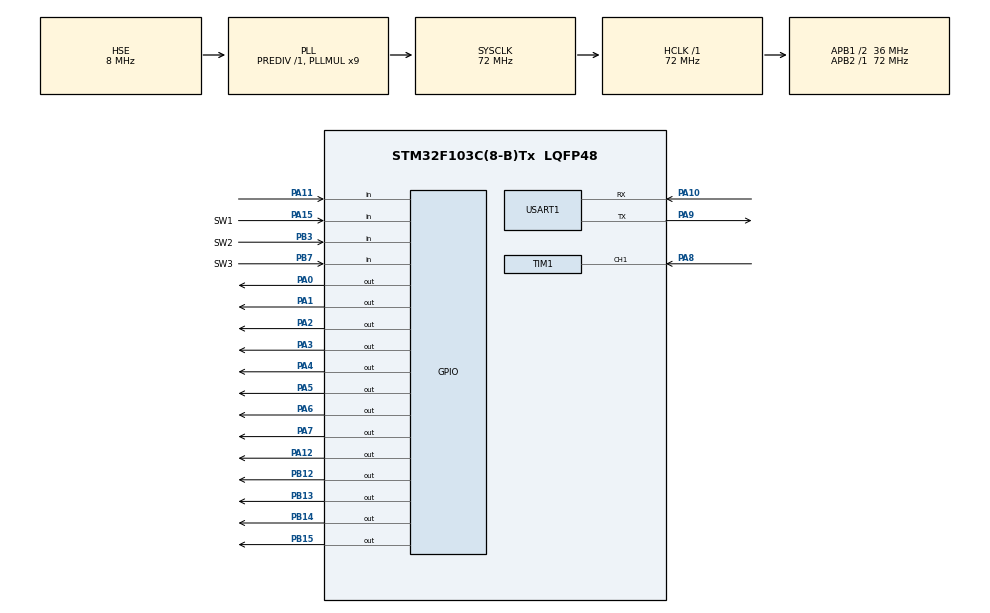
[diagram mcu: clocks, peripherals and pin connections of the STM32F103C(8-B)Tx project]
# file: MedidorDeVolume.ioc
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Mcu.Family=STM32F1
Mcu.Name=STM32F103C(8-B)Tx
Mcu.Package=LQFP48
NVIC.PriorityGroup=NVIC_PRIORITYGROUP_4
NVIC.TIM3_IRQn=true\:0\:0\:false\:false\:true\:true\:true\:true
PA0-WKUP.Signal=GPIO_Output
PA1.Signal=GPIO_Output
PA10.Mode=Asynchronous
PA10.Signal=USART1_RX
PA11.Signal=GPIO_Input
PA12.Signal=GPIO_Output
PA13.Mode=Serial_Wire
PA13.Signal=SYS_JTMS-SWDIO
PA14.Mode=Serial_Wire
PA14.Signal=SYS_JTCK-SWCLK
PA15.GPIO_Label=SW1
PA15.Signal=GPIO_Input
PA2.Signal=GPIO_Output
PA3.Signal=GPIO_Output
PA4.Signal=GPIO_Output
PA5.Signal=GPIO_Output
PA6.Signal=GPIO_Output
PA7.Signal=GPIO_Output
PA8.Signal=S_TIM1_CH1
PA9.Mode=Asynchronous
PA9.Signal=USART1_TX
PB10.Signal=I2C2_SCL
PB11.Signal=I2C2_SDA
PB12.Signal=GPIO_Output
PB13.Signal=GPIO_Output
PB14.Signal=GPIO_Output
PB15.Signal=GPIO_Output
PB3.GPIO_Label=SW2
PB3.Signal=GPIO_Input
PB7.GPIO_Label=SW3
PB7.Signal=GPIO_Input
PD0-OSC_IN.Mode=HSE-External-Oscillator
PD0-OSC_IN.Signal=RCC_OSC_IN
PD1-OSC_OUT.Mode=HSE-External-Oscillator
PD1-OSC_OUT.Signal=RCC_OSC_OUT
ProjectManager.HeapSize=0x200
ProjectManager.StackSize=0x400
ProjectManager.TargetToolchain=STM32CubeIDE
RCC.AHBFreq_Value=72000000
RCC.APB1CLKDivider=RCC_HCLK_DIV2
RCC.APB1Freq_Value=36000000
RCC.APB1TimFreq_Value=72000000
RCC.APB2Freq_Value=72000000
RCC.APB2TimFreq_Value=72000000
RCC.HCLKFreq_Value=72000000
RCC.PLLMUL=RCC_PLL_MUL9
RCC.PLLSourceVirtual=RCC_PLLSOURCE_HSE
RCC.SYSCLKFreq_VALUE=72000000
RCC.SYSCLKSource=RCC_SYSCLKSOURCE_PLLCLK
RCC.USBFreq_Value=72000000
SH.S_TIM1_CH1.0=TIM1_CH1,TriggerSource_TI1FP1
TIM1.Period=65535
TIM1.Prescaler=72-1
TIM3.Period=9
TIM3.Prescaler=7199
USART1.VirtualMode=VM_ASYNC
VP_TIM1_VS_ClockSourceINT.Mode=Internal
VP_TIM1_VS_ControllerModeReset.Mode=Reset Mode
VP_TIM3_VS_ClockSourceINT.Mode=Internal
board=custom

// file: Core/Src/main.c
/* USER CODE BEGIN Header */
/**
  ******************************************************************************
  * @file           : main.c
  * @brief          : Main program body
  ******************************************************************************
  * @attention
  *
  * Copyright (c) 2025 STMicroelectronics.
  * All rights reserved.
  *
  * This software is licensed under terms that can be found in the LICENSE file
  * in the root directory of this software component.
  * If no LICENSE file comes with this software, it is provided AS-IS.
  *
  ******************************************************************************
  */
/* USER CODE END Header */
#include "main.h"

/* USER CODE BEGIN Includes */
#include "stdio.h"
#include "string.h"

/* USER CODE END Includes */

TIM_HandleTypeDef htim1;
TIM_HandleTypeDef htim3;

UART_HandleTypeDef huart1;

/* USER CODE BEGIN PV */

char history[HISTORY_SIZE][50];
uint8_t history_index = 0;
uint8_t current_digit = 0;
uint8_t dist_int = 0;

const uint8_t sevenLookup[] = {0x3F, 0x06, 0x5B, 0x4F, 0x66, 0x6D, 0x7D, 0x07, 0x7F, 0x6F};
/* USER CODE END PV */

void SystemClock_Config(void);
static void MX_GPIO_Init(void);
static void MX_TIM1_Init(void);
static void MX_USART1_UART_Init(void);
static void MX_TIM3_Init(void);
/* USER CODE BEGIN PFP */
int __io_putchar(int ch)
{
    HAL_UART_Transmit(&huart1, (uint8_t *)&ch, 1, HAL_MAX_DELAY);
    return ch;
}

GPIO_InitTypeDef GPIO_InitStruct = {0};

/* USER CODE END PFP */

/* USER CODE BEGIN 0 */

void add_to_history(const char* msg) {
    snprintf(history[history_index], sizeof(history[history_index]), "%s", msg);
    history_index = (history_index + 1) % HISTORY_SIZE;
}

float read_distance(void) {
    uint32_t Value1 = 0;
    uint32_t Value2 = 0;
    float Distance = 0;
    uint32_t pMillis;

    // Gera pulso de 10us no TRIG
    HAL_GPIO_WritePin(TRIG_PORT, TRIG_PIN, GPIO_PIN_SET);  // TRIG HIGH
    __HAL_TIM_SET_COUNTER(&htim1, 0);
    while (__HAL_TIM_GET_COUNTER(&htim1) < 10);  // espera 10 us
    HAL_GPIO_WritePin(TRIG_PORT, TRIG_PIN, GPIO_PIN_RESET);  // TRIG LOW

    // Espera o ECHO ir para HIGH (com timeout de 10 ms)
    pMillis = HAL_GetTick();
    while (!(HAL_GPIO_ReadPin(ECHO_PORT, ECHO_PIN)) && (HAL_GetTick() - pMillis < 10));

    Value1 = __HAL_TIM_GET_COUNTER(&htim1);

    // Espera o ECHO voltar para LOW (com timeout de 50 ms)
    pMillis = HAL_GetTick();
    while ((HAL_GPIO_ReadPin(ECHO_PORT, ECHO_PIN)) && (HAL_GetTick() - pMillis < 50));

    Value2 = __HAL_TIM_GET_COUNTER(&htim1);

    // Cálculo da distância
    Distance = (Value2 - Value1) * 0.034f / 2.0f;  // em cm

    return Distance;
}

void displayNumber(uint16_t number) {
    uint8_t d1 = (number / 100) % 10;
    uint8_t d2 = (number / 10) % 10;
    uint8_t d3 = number % 10;

    // Desliga todos os dígitos antes de ativar o atual
    HAL_GPIO_WritePin(DIGIT_PORT, DIGIT1_PIN | DIGIT2_PIN | DIGIT3_PIN, GPIO_PIN_RESET);

    switch(current_digit) {
        case 0:
            SEGMENT_PORT->ODR = (SEGMENT_PORT->ODR & 0xFF00) | sevenLookup[d3];
            HAL_GPIO_WritePin(DIGIT_PORT, DIGIT1_PIN, GPIO_PIN_SET);
            break;
        case 1:
            SEGMENT_PORT->ODR = (SEGMENT_PORT->ODR & 0xFF00) | sevenLookup[d2];
            HAL_GPIO_WritePin(DIGIT_PORT, DIGIT2_PIN, GPIO_PIN_SET);
            break;
        case 2:
            SEGMENT_PORT->ODR = (SEGMENT_PORT->ODR & 0xFF00) | sevenLookup[d1];
            HAL_GPIO_WritePin(DIGIT_PORT, DIGIT3_PIN, GPIO_PIN_SET);
            break;
    }

    current_digit = (current_digit + 1) % 3;
}

void handle_buttons() {
    static uint32_t last_button_check = 0;
    static uint8_t sw1_pressed = 0;
    static uint8_t sw2_pressed = 0;
    static uint8_t sw3_pressed = 0;

    static float distancia_A = 0;
    static float distancias_B[3] = {0};
    static uint8_t index_B = 0;
    char msg[50];

    if (HAL_GetTick() - last_button_check < 100) return;
    last_button_check = HAL_GetTick();

    // --- Botão 1: Salva a primeira medida ---
    if (HAL_GPIO_ReadPin(SW1_GPIO_Port, SW1_Pin) == GPIO_PIN_RESET) {
        if (!sw1_pressed) {
            sw1_pressed = 1;
            HAL_Delay(50); // debounce
            if (HAL_GPIO_ReadPin(SW1_GPIO_Port, SW1_Pin) == GPIO_PIN_RESET) {
                distancia_A = read_distance();
                snprintf(msg, sizeof(msg), "TARA salva: %.2f cm", distancia_A);
                printf("%s\n\r", msg);
                add_to_history(msg);  // Salva no histórico
            }
        }
    } else {
        sw1_pressed = 0;
    }

    // --- Botão 2: Salva a segunda medida ---
    if (HAL_GPIO_ReadPin(SW2_GPIO_Port, SW2_Pin) == GPIO_PIN_RESET) {
        if (!sw2_pressed) {
            sw2_pressed = 1;
            HAL_Delay(50); // debounce
            if (HAL_GPIO_ReadPin(SW2_GPIO_Port, SW2_Pin) == GPIO_PIN_RESET) {
                distancias_B[index_B] = read_distance();
                snprintf(msg, sizeof(msg), "Distância [%d] salva: %.2f cm", index_B, distancias_B[index_B]);
                printf("%s\n\r", msg);
                add_to_history(msg);
                index_B = (index_B + 1) % 3;  // circular
            }
        }
    } else {
        sw2_pressed = 0;
    }

    // --- Botão 3: Calcula Y = (tara - d0) * (tara - d1) * (tara - d2) ---
    if (HAL_GPIO_ReadPin(SW3_GPIO_Port, SW3_Pin) == GPIO_PIN_RESET) {
        if (!sw3_pressed) {
            sw3_pressed = 1;
            HAL_Delay(50); // debounce
            if (HAL_GPIO_ReadPin(SW3_GPIO_Port, SW3_Pin) == GPIO_PIN_RESET) {

                // Verificação: se tara (distancia_A) está válida
                if (distancia_A <= 0) {
                    printf("Erro: TARA (distância 1) não definida!\n\r");
                    return;
                }

                // Verificação: se 3 valores foram medidos
                int medidas_validas = 1;
                for (int i = 0; i < 3; i++) {
                    if (distancias_B[i] <= 0) {
                        medidas_validas = 0;
                        break;
                    }
                }

                if (!medidas_validas) {
                    printf("Erro: Distâncias da caixa incompletas!\n\r");
                    return;
                }

                // Cálculo
                float tara = distancia_A;
                float X1 = tara - distancias_B[0];
                float X3 = tara - distancias_B[1];
                float X2 = tara - distancias_B[2];
                float Y = X1 * X2 * X3;

                char msg[100];
                snprintf(msg, sizeof(msg),
                         "X1=%.2fcm X3=%.2fcm X2=%.2fcm\n\rArea=%.2fcm3",
                         X1, X3, X2, Y);
                printf("%s\n\r", msg);
                add_to_history(msg);
            }
        }
    } else {
        sw3_pressed = 0;
    }

}

/* USER CODE END 0 */

int main(void)
{

  /* USER CODE BEGIN 1 */
#ifdef DEBUG
// Se estiver compilando para Debug
CoreDebug->DEMCR |= CoreDebug_DEMCR_MON_EN_Msk | CoreDebug_DEMCR_MON_PEND_Msk;
DBGMCU->CR |= DBGMCU_CR_DBG_SLEEP | DBGMCU_CR_DBG_STOP | DBGMCU_CR_DBG_STANDBY;
#endif
  /* USER CODE END 1 */

  /* MCU Configuration--------------------------------------------------------*/

  /* Reset of all peripherals, Initializes the Flash interface and the Systick. */
  HAL_Init();

  /* Configure the system clock */
  SystemClock_Config();

  /* Initialize all configured peripherals */
  MX_GPIO_Init();
  MX_TIM1_Init();
  MX_USART1_UART_Init();
  MX_TIM3_Init();

  /* USER CODE BEGIN 2 */
  HAL_TIM_Base_Start(&htim1);
  HAL_TIM_Base_Start_IT(&htim3);
  HAL_GPIO_WritePin(TRIG_PORT, TRIG_PIN, GPIO_PIN_RESET);
  /* USER CODE END 2 */

  /* Infinite loop */
  /* USER CODE BEGIN WHILE */
  printf("iniciando o loop\n");

  uint32_t last_measurement = 0;

  while (1)
  {
      if (HAL_GetTick() - last_measurement >= 500) {
          float distance = read_distance();
          dist_int = (uint8_t)(distance > 999 ? 999 : distance);  // Limita a 3 dígitos
          printf("Dist: %.2f cm\r\n", distance);
          last_measurement = HAL_GetTick();
      }

      handle_buttons();
  }
    /* USER CODE END WHILE */

}

void SystemClock_Config(void)
{
  RCC_OscInitTypeDef RCC_OscInitStruct = {0};
  RCC_ClkInitTypeDef RCC_ClkInitStruct = {0};

  /** Initializes the RCC Oscillators according to the specified parameters
  * in the RCC_OscInitTypeDef structure.
  */
  RCC_OscInitStruct.OscillatorType = RCC_OSCILLATORTYPE_HSE;
  RCC_OscInitStruct.HSEState = RCC_HSE_ON;
  RCC_OscInitStruct.HSEPredivValue = RCC_HSE_PREDIV_DIV1;
  RCC_OscInitStruct.HSIState = RCC_HSI_ON;
  RCC_OscInitStruct.PLL.PLLState = RCC_PLL_ON;
  RCC_OscInitStruct.PLL.PLLSource = RCC_PLLSOURCE_HSE;
  RCC_OscInitStruct.PLL.PLLMUL = RCC_PLL_MUL9;
  if (HAL_RCC_OscConfig(&RCC_OscInitStruct) != HAL_OK)
  {
    Error_Handler();
  }

  /** Initializes the CPU, AHB and APB buses clocks
  */
  RCC_ClkInitStruct.ClockType = RCC_CLOCKTYPE_HCLK|RCC_CLOCKTYPE_SYSCLK
                              |RCC_CLOCKTYPE_PCLK1|RCC_CLOCKTYPE_PCLK2;
  RCC_ClkInitStruct.SYSCLKSource = RCC_SYSCLKSOURCE_PLLCLK;
  RCC_ClkInitStruct.AHBCLKDivider = RCC_SYSCLK_DIV1;
  RCC_ClkInitStruct.APB1CLKDivider = RCC_HCLK_DIV2;
  RCC_ClkInitStruct.APB2CLKDivider = RCC_HCLK_DIV1;

  if (HAL_RCC_ClockConfig(&RCC_ClkInitStruct, FLASH_LATENCY_2) != HAL_OK)
  {
    Error_Handler();
  }
}

static void MX_TIM1_Init(void)
{

  TIM_ClockConfigTypeDef sClockSourceConfig = {0};
  TIM_SlaveConfigTypeDef sSlaveConfig = {0};
  TIM_MasterConfigTypeDef sMasterConfig = {0};

  htim1.Instance = TIM1;
  htim1.Init.Prescaler = 72-1;
  htim1.Init.CounterMode = TIM_COUNTERMODE_UP;
  htim1.Init.Period = 65535;
  htim1.Init.ClockDivision = TIM_CLOCKDIVISION_DIV1;
  htim1.Init.RepetitionCounter = 0;
  htim1.Init.AutoReloadPreload = TIM_AUTORELOAD_PRELOAD_DISABLE;
  if (HAL_TIM_Base_Init(&htim1) != HAL_OK)
  {
    Error_Handler();
  }
  sClockSourceConfig.ClockSource = TIM_CLOCKSOURCE_INTERNAL;
  if (HAL_TIM_ConfigClockSource(&htim1, &sClockSourceConfig) != HAL_OK)
  {
    Error_Handler();
  }
  sSlaveConfig.SlaveMode = TIM_SLAVEMODE_RESET;
  sSlaveConfig.InputTrigger = TIM_TS_TI1FP1;
  sSlaveConfig.TriggerPolarity = TIM_TRIGGERPOLARITY_RISING;
  sSlaveConfig.TriggerFilter = 0;
  if (HAL_TIM_SlaveConfigSynchro(&htim1, &sSlaveConfig) != HAL_OK)
  {
    Error_Handler();
  }
  sMasterConfig.MasterOutputTrigger = TIM_TRGO_RESET;
  sMasterConfig.MasterSlaveMode = TIM_MASTERSLAVEMODE_DISABLE;
  if (HAL_TIMEx_MasterConfigSynchronization(&htim1, &sMasterConfig) != HAL_OK)
  {
    Error_Handler();
  }

}

static void MX_TIM3_Init(void)
{

  TIM_ClockConfigTypeDef sClockSourceConfig = {0};
  TIM_MasterConfigTypeDef sMasterConfig = {0};

  htim3.Instance = TIM3;
  htim3.Init.Prescaler = 7199;
  htim3.Init.CounterMode = TIM_COUNTERMODE_UP;
  htim3.Init.Period = 9;
  htim3.Init.ClockDivision = TIM_CLOCKDIVISION_DIV1;
  htim3.Init.AutoReloadPreload = TIM_AUTORELOAD_PRELOAD_DISABLE;
  if (HAL_TIM_Base_Init(&htim3) != HAL_OK)
  {
    Error_Handler();
  }
  sClockSourceConfig.ClockSource = TIM_CLOCKSOURCE_INTERNAL;
  if (HAL_TIM_ConfigClockSource(&htim3, &sClockSourceConfig) != HAL_OK)
  {
    Error_Handler();
  }
  sMasterConfig.MasterOutputTrigger = TIM_TRGO_RESET;
  sMasterConfig.MasterSlaveMode = TIM_MASTERSLAVEMODE_DISABLE;
  if (HAL_TIMEx_MasterConfigSynchronization(&htim3, &sMasterConfig) != HAL_OK)
  {
    Error_Handler();
  }

}

static void MX_USART1_UART_Init(void)
{

  huart1.Instance = USART1;
  huart1.Init.BaudRate = 115200;
  huart1.Init.WordLength = UART_WORDLENGTH_8B;
  huart1.Init.StopBits = UART_STOPBITS_1;
  huart1.Init.Parity = UART_PARITY_NONE;
  huart1.Init.Mode = UART_MODE_TX_RX;
  huart1.Init.HwFlowCtl = UART_HWCONTROL_NONE;
  huart1.Init.OverSampling = UART_OVERSAMPLING_16;
  if (HAL_UART_Init(&huart1) != HAL_OK)
  {
    Error_Handler();
  }

}

static void MX_GPIO_Init(void)
{
  GPIO_InitTypeDef GPIO_InitStruct = {0};

  /* GPIO Ports Clock Enable */
  __HAL_RCC_GPIOD_CLK_ENABLE();
  __HAL_RCC_GPIOA_CLK_ENABLE();
  __HAL_RCC_GPIOB_CLK_ENABLE();

  /*Configure GPIO pin Output Level */
  HAL_GPIO_WritePin(GPIOA, GPIO_PIN_0|GPIO_PIN_1|GPIO_PIN_2|GPIO_PIN_3
                          |GPIO_PIN_4|GPIO_PIN_5|GPIO_PIN_6|GPIO_PIN_7
                          |GPIO_PIN_12, GPIO_PIN_RESET);

  /*Configure GPIO pin Output Level */
  HAL_GPIO_WritePin(GPIOB, GPIO_PIN_12|GPIO_PIN_13|GPIO_PIN_14|GPIO_PIN_15, GPIO_PIN_RESET);

  /*Configure GPIO pins : PA0 PA1 PA2 PA3
                           PA4 PA5 PA6 PA7
                           PA12 */
  GPIO_InitStruct.Pin = GPIO_PIN_0|GPIO_PIN_1|GPIO_PIN_2|GPIO_PIN_3
                          |GPIO_PIN_4|GPIO_PIN_5|GPIO_PIN_6|GPIO_PIN_7
                          |GPIO_PIN_12;
  GPIO_InitStruct.Mode = GPIO_MODE_OUTPUT_PP;
  GPIO_InitStruct.Pull = GPIO_NOPULL;
  GPIO_InitStruct.Speed = GPIO_SPEED_FREQ_LOW;
  HAL_GPIO_Init(GPIOA, &GPIO_InitStruct);

  /*Configure GPIO pins : PB10 PB11 */
  GPIO_InitStruct.Pin = GPIO_PIN_10|GPIO_PIN_11;
  GPIO_InitStruct.Mode = GPIO_MODE_AF_OD;
  GPIO_InitStruct.Speed = GPIO_SPEED_FREQ_HIGH;
  HAL_GPIO_Init(GPIOB, &GPIO_InitStruct);

  /*Configure GPIO pins : PB12 PB13 PB14 PB15 */
  GPIO_InitStruct.Pin = GPIO_PIN_12|GPIO_PIN_13|GPIO_PIN_14|GPIO_PIN_15;
  GPIO_InitStruct.Mode = GPIO_MODE_OUTPUT_PP;
  GPIO_InitStruct.Pull = GPIO_NOPULL;
  GPIO_InitStruct.Speed = GPIO_SPEED_FREQ_LOW;
  HAL_GPIO_Init(GPIOB, &GPIO_InitStruct);

  /*Configure GPIO pins : PA11 SW1_Pin */
  GPIO_InitStruct.Pin = GPIO_PIN_11|SW1_Pin;
  GPIO_InitStruct.Mode = GPIO_MODE_INPUT;
  GPIO_InitStruct.Pull = GPIO_NOPULL;
  HAL_GPIO_Init(GPIOA, &GPIO_InitStruct);

  /*Configure GPIO pins : SW2_Pin SW3_Pin */
  GPIO_InitStruct.Pin = SW2_Pin|SW3_Pin;
  GPIO_InitStruct.Mode = GPIO_MODE_INPUT;
  GPIO_InitStruct.Pull = GPIO_NOPULL;
  HAL_GPIO_Init(GPIOB, &GPIO_InitStruct);

}

/* USER CODE BEGIN 4 */
void HAL_TIM_PeriodElapsedCallback(TIM_HandleTypeDef *htim)
{
    if (htim->Instance == TIM3)
    {
        displayNumber(dist_int);
    }
}
/* USER CODE END 4 */

void Error_Handler(void)
{
  __disable_irq();
  while (1)
  {
  }
}
